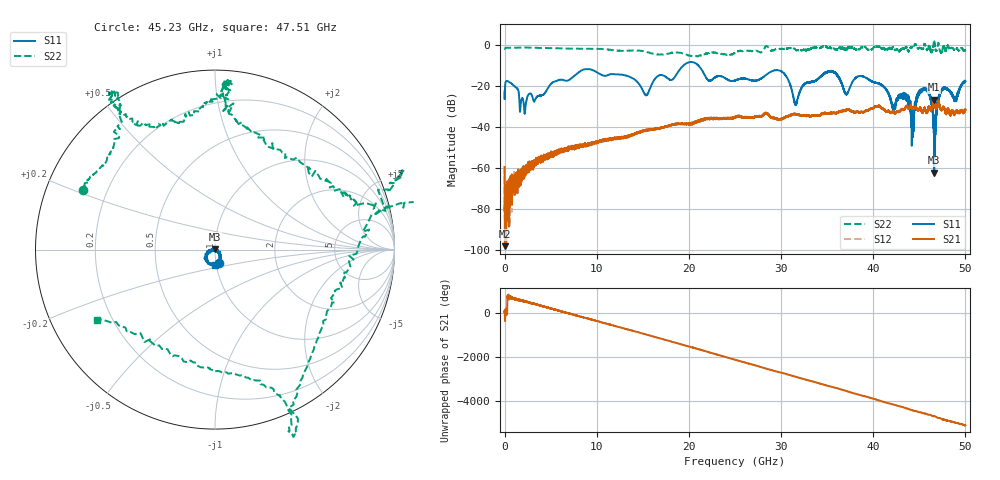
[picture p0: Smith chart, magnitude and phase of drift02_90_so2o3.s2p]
!Created with skrf (http://scikit-rf.org).
# Hz S RI R 50.0
!freq ReS11 ImS11 ReS21 ImS21 ReS12 ImS12 ReS22 ImS22
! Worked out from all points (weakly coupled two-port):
!   10001 points, 300 kHz to 50 GHz, reference 50 ohm
!   highest |S21| = -26.69 dB at 46.61 GHz (marker M1); lowest = -98.0 dB at 30.3 MHz (marker M2)
!   lowest |S11| = -62.3 dB at 46.62 GHz (marker M3), VSWR 1.00, Z = 50 + j0.0699 ohm
!   |S11| at or under -10 dB: start of sweep to 19.43 GHz; 21.00466 GHz to 21.00682 GHz (2.16 MHz wide, 0.0103 % of centre); 21.01 GHz to end of sweep
!   |S22| runs from -5.7 to 2.1 dB; largest |S21 - S12| = 0.0031
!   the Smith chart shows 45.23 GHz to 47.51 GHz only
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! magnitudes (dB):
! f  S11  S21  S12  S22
! 300 kHz  -22.5  -59.5  -59.2  -2.1
! 30.3 MHz  -22.4  -98.0  -84.6  -1.8
! 255.3 MHz  -17.6  -70.1  -67.0  -1.4
! 2.19 GHz  -33.5  -62.1  -60.4  -1.3
! 8.335 GHz  -12.5  -48.7  -48.9  -1.9
! 15.34 GHz  -24.6  -41.9  -41.5  -3.3
! 16.67 GHz  -15.1  -40.7  -40.7  -4.7
! 20.31 GHz  -8.4  -38.1  -38.2  -5.5
! 25 GHz  -17.4  -35.2  -35.2  -3.9
! 29.84 GHz  -12.6  -36.4  -36.4  -2.0
! 31.59 GHz  -29.0  -33.9  -34.1  -2.4
! 33.34 GHz  -18.1  -34.6  -34.5  -1.6
! 35.6 GHz  -13.0  -33.2  -33.2  -1.5
! 37.1 GHz  -24.1  -31.8  -31.6  -2.0
! 38.74 GHz  -15.2  -32.7  -32.6  -1.0
! 41.67 GHz  -23.7  -32.4  -32.1  -2.0
! 44.27 GHz  -35.9  -31.2  -31.1  -1.5
! 45.74 GHz  -21.1  -33.0  -32.8  -1.5
! 46.61 GHz  -42.4  -26.7  -27.0  2.1
! 46.62 GHz  -62.3  -27.2  -27.1  2.1
! 47.49 GHz  -21.7  -31.4  -31.3  -3.0
! 50 GHz  -17.9  -31.7  -32.1  -2.8
